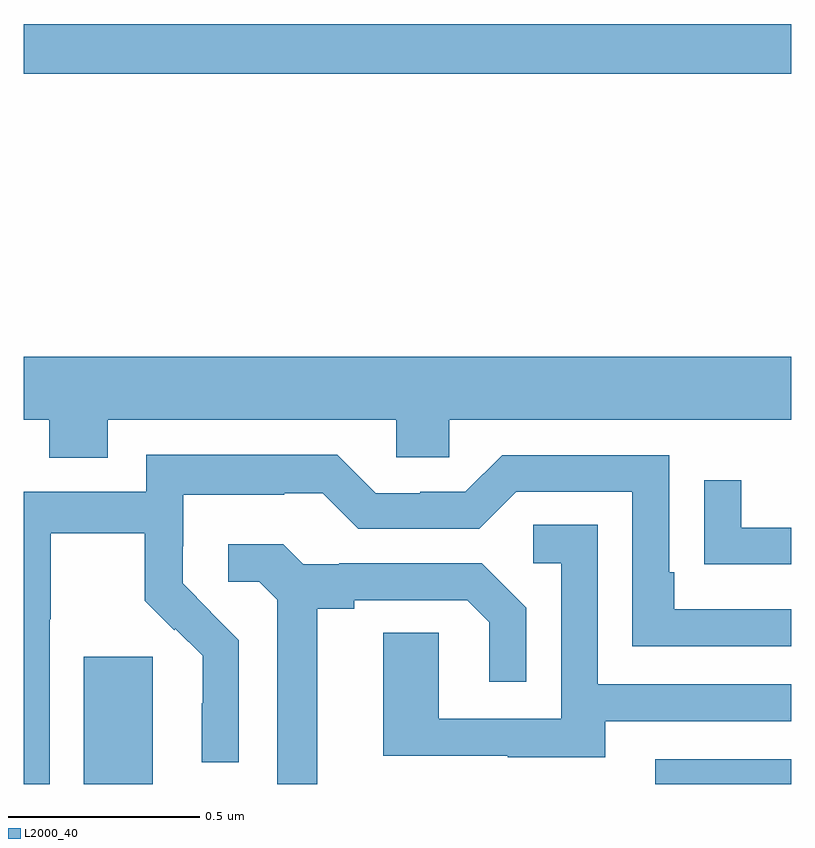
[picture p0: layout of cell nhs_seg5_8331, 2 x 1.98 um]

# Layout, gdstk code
import gdstk
lib = gdstk.Library(unit=1e-6, precision=1e-09)
def R(c, l, rs):  # rectangles x0, y0, x1, y1
    for r in rs: c.add(gdstk.rectangle(r[:2], r[2:], *l))
def P(c, l, *ps):  # polygons
    for p in ps: c.add(gdstk.Polygon(p, *l))
L2000_40 = (2000, 40)

nhs_seg5_8331 = lib.new_cell('nhs_seg5_8331')
R(nhs_seg5_8331, L2000_40, [(220.157,867.799,220.336,868.131), (221.645,867.799,222,867.864), (220,869.65,222,869.779)])
P(nhs_seg5_8331, L2000_40, [(220.219,868.748),(220.971,868.748),(220.971,868.65),(221.109,868.65),(221.109,868.748),(222,868.748),(222,868.912),(220,868.912),(220,868.748),(220.067,868.748),(220.067,868.649),(220.219,868.649)],
  [(220.068,868.228),(220.071,868.228),(220.071,868.452),(220.315,868.452),(220.315,868.277),(220.392,868.2),(220.395,868.203),(220.466,868.133),(220.466,868.01),(220.464,868.01),(220.464,867.856),(220.56,867.856),(220.56,868.174),(220.487,868.247),(220.488,868.248),(220.414,868.322),(220.414,868.419),(220.416,868.419),(220.416,868.553),(220.679,868.553),(220.679,868.557),(220.779,868.557),(220.872,868.464),(221.187,868.464),(221.283,868.56),(221.586,868.56),(221.586,868.158),(222,868.158),(222,868.254),(221.695,868.254),(221.695,868.351),(221.682,868.351),(221.682,868.656),(221.247,868.656),(221.151,868.56),(221.033,868.56),(221.033,868.557),(220.917,868.557),(220.817,868.657),(220.32,868.657),(220.32,868.56),(220,868.56),(220,867.799),(220.068,867.799)],
  [(222,868.467),(221.869,868.467),(221.869,868.591),(221.773,868.591),(221.773,868.372),(221.875,868.372),(221.875,868.371),(222,868.371)],
  [(221.515,867.963),(222,867.963),(222,868.059),(221.496,868.059),(221.496,868.475),(221.328,868.475),(221.328,868.374),(221.4,868.374),(221.4,867.969),(221.082,867.969),(221.082,868.193),(220.937,868.193),(220.937,867.873),(221.261,867.873),(221.261,867.869),(221.515,867.869)],
  [(220.765,868.256),(220.861,868.256),(220.861,868.278),(221.156,868.278),(221.213,868.221),(221.213,868.065),(221.31,868.065),(221.31,868.258),(221.194,868.374),(220.822,868.374),(220.822,868.371),(220.728,868.371),(220.676,868.423),(220.533,868.423),(220.533,868.326),(220.614,868.326),(220.661,868.279),(220.661,867.799),(220.765,867.799)])

lib.write_gds('nhs_seg5_8331.gds')
